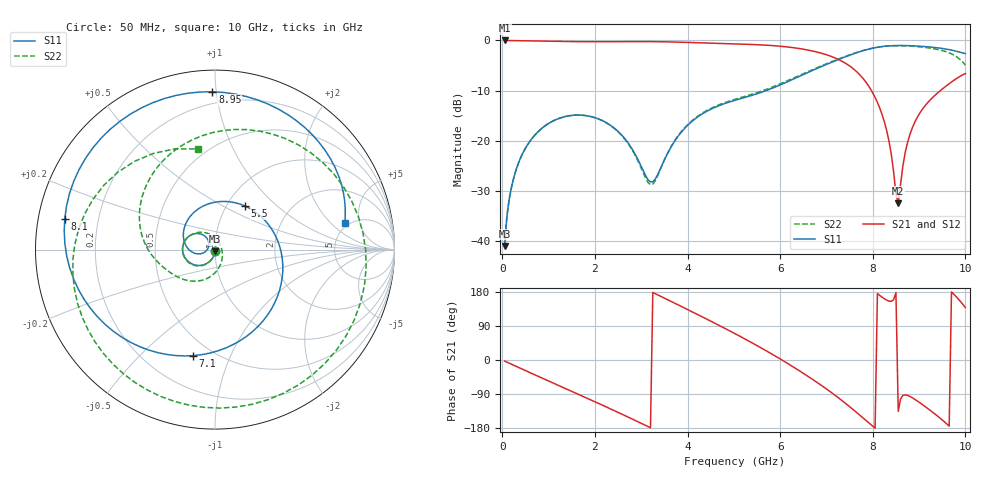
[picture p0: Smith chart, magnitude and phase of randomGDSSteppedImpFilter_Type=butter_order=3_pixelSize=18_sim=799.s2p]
! freq	dB(S11)	phase(S11)	dB(S12)	phase(S12)
!  dB(S21)	phase(S21)	dB(S22)	phase(S22)
!S-par simulation data
#  GHz  S  DB  R 50
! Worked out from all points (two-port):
!   200 points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, 50 MHz to 10 GHz, reference 50 ohm
!   highest |S21| = 0.00 dB at 50 MHz (marker M1); lowest = -32.4 dB at 8.55 GHz (marker M2)
!   |S21| within 3 dB of the highest: start of sweep to 7.05 GHz
!   lowest |S11| = -40.9 dB at 50 MHz (marker M3), VSWR 1.02, Z = 50 - j0.896 ohm
!   |S11| at or under -10 dB: start of sweep to 5.693 GHz
!   |S22| runs from -41.0 to -1.0 dB; largest |S21 - S12| = 0
!   S11 on the Smith chart (normalised r, x): 50 MHz: 1.00, -0.02; 5.5 GHz: 1.21, +0.64; 7.1 GHz: 0.40, -0.74; 8.1 GHz: 0.08, +0.10; 8.95 GHz: 0.13, +0.98; 10 GHz: 4.58, +3.05
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0.05  -40.94 -92.0  -0.00 -2.8  -0.00 -2.8  -40.96 -92.0
0.2  -29.13 -100.8  -0.03 -11.2  -0.03 -11.2  -29.20 -100.2
0.5  -21.45 -118.9  -0.07 -27.9  -0.07 -27.9  -21.45 -117.8
1.15  -15.80 -155.5  -0.19 -63.7  -0.19 -63.7  -15.80 -153.2
1.75  -14.90 171.9  -0.26 -96.4  -0.26 -96.4  -14.91 174.0
2.7  -20.20 127.6  -0.22 -149.6  -0.22 -149.6  -20.32 112.6
3.2  -28.17 156.7  -0.23 -178.8  -0.23 -178.8  -28.72 22.9
3.4  -25.83 -170.5  -0.26 169.3  -0.26 169.3  -25.95 -35.2
4.3  -14.73 161.7  -0.48 114.9  -0.48 114.9  -14.58 -113.4
5.05  -11.85 100.2  -0.70 67.9  -0.70 67.9  -11.65 -145.3
5.5  -10.61 55.6  -0.85 38.1  -0.85 38.1  -10.39 -160.6
6.1  -8.46 -7.2  -1.24 -4.5  -1.24 -4.5  -8.25 176.3
6.7  -5.96 -65.8  -2.11 -51.1  -2.11 -51.1  -5.79 140.3
7.1  -4.39 -101.6  -3.17 -85.3  -3.17 -85.3  -4.26 106.4
7.6  -2.62 -145.5  -5.79 -133.2  -5.79 -133.2  -2.55 51.5
8.1  -1.36 168.3  -12.33 175.2  -12.33 175.2  -1.35 -13.6
8.35  -1.08 144.8  -20.04 155.5  -20.04 155.5  -1.09 -46.1
8.55  -1.01 126.4  -32.38 -135.5  -32.38 -135.5  -1.04 -70.7
8.7  -1.02 112.8  -22.34 -91.9  -22.34 -91.9  -1.08 -88.1
8.95  -1.12 91.0  -15.49 -107.2  -15.49 -107.2  -1.23 -115.7
9.55  -1.66 41.9  -9.32 -163.5  -9.32 -163.5  -2.14 177.9
10  -2.62 11.8  -6.60 138.4  -6.60 138.4  -4.90 99.8
